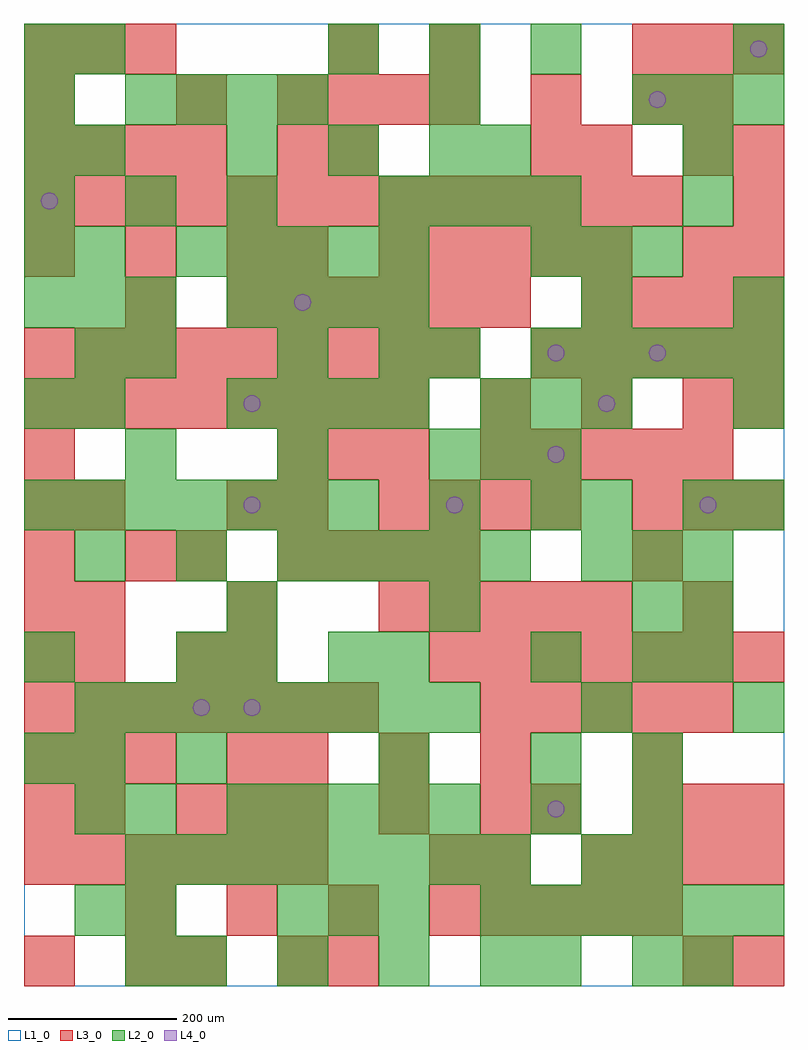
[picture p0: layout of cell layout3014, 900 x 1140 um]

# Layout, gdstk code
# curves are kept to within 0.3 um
import gdstk
lib = gdstk.Library(unit=1e-6, precision=1e-09)
def R(c, l, rs):  # rectangles x0, y0, x1, y1
    for r in rs: c.add(gdstk.rectangle(r[:2], r[2:], *l))
def A(c, l, x, y, w, h, nx, ny, dx, dy):  # array of equal rectangles
    R(c, l, [(x+i*dx, y+j*dy, x+i*dx+w, y+j*dy+h) for i in range(nx) for j in range(ny)])
def P(c, l, *ps):  # polygons
    for p in ps: c.add(gdstk.Polygon(p, *l))
L1_0 = (1, 0)
L2_0 = (2, 0)
L3_0 = (3, 0)
L4_0 = (4, 0)

layout3014 = lib.new_cell('layout3014')
R(layout3014, L1_0, [(0,0,900,1140)])
A(layout3014, L2_0, 180, 0, 60, 60, 4, 1, 120, 0)
A(layout3014, L2_0, 300, 60, 60, 60, 3, 1, 60, 0)
A(layout3014, L2_0, 540, 60, 60, 60, 6, 1, 60, 0)
A(layout3014, L2_0, 120, 120, 60, 60, 8, 1, 60, 0)
A(layout3014, L2_0, 720, 120, 60, 60, 1, 3, 0, 60)
A(layout3014, L2_0, 240, 180, 60, 60, 5, 1, 60, 0)
A(layout3014, L2_0, 60, 300, 60, 60, 8, 1, 60, 0)
A(layout3014, L2_0, 660, 300, 60, 60, 1, 3, 0, 240)
A(layout3014, L2_0, 240, 420, 60, 60, 3, 1, 240, 0)
A(layout3014, L2_0, 60, 480, 60, 60, 3, 1, 120, 0)
A(layout3014, L2_0, 360, 480, 60, 60, 4, 1, 60, 0)
A(layout3014, L2_0, 660, 480, 60, 60, 3, 1, 60, 0)
A(layout3014, L2_0, 0, 540, 60, 60, 7, 1, 60, 0)
A(layout3014, L2_0, 840, 540, 60, 60, 1, 3, 0, 120)
A(layout3014, L2_0, 120, 600, 60, 60, 3, 1, 180, 0)
A(layout3014, L2_0, 240, 660, 60, 60, 4, 2, 60, 120)
A(layout3014, L2_0, 540, 660, 60, 60, 3, 1, 60, 0)
A(layout3014, L2_0, 60, 720, 60, 60, 1, 4, 0, 120)
A(layout3014, L2_0, 600, 720, 60, 60, 5, 1, 60, 0)
A(layout3014, L2_0, 0, 780, 60, 60, 3, 1, 60, 0)
A(layout3014, L2_0, 180, 840, 60, 60, 5, 1, 60, 0)
A(layout3014, L2_0, 600, 840, 60, 60, 3, 1, 60, 0)
A(layout3014, L2_0, 0, 900, 60, 60, 3, 1, 120, 0)
A(layout3014, L2_0, 420, 900, 60, 60, 4, 1, 60, 0)
A(layout3014, L2_0, 0, 960, 60, 60, 1, 3, 0, 60)
A(layout3014, L2_0, 240, 960, 60, 60, 3, 1, 120, 0)
A(layout3014, L2_0, 120, 1020, 60, 60, 4, 1, 60, 0)
A(layout3014, L2_0, 720, 1020, 60, 60, 3, 1, 60, 0)
A(layout3014, L2_0, 360, 1080, 60, 60, 3, 1, 120, 0)
R(layout3014, L2_0, [(120,0,180,60), (600,0,660,60), (720,0,780,60), (780,0,840,60), (60,60,120,120), (120,60,180,120), (660,120,720,180), (60,180,120,240), (120,180,180,240), (600,180,660,240), (0,240,60,300), (60,240,120,300), (180,240,240,300), (420,240,480,300), (600,240,660,300), (840,300,900,360), (0,360,60,420), (180,360,240,420), (240,360,300,420), (360,360,420,420), (420,360,480,420), (600,360,660,420), (720,360,780,420), (780,360,840,420), (780,420,840,480), (480,540,540,600), (600,540,660,600), (780,540,840,600), (540,600,600,660), (600,600,660,660), (0,660,60,720), (60,660,120,720), (120,720,180,780), (300,720,360,780), (420,720,480,780), (480,720,540,780), (0,840,60,900), (780,900,840,960), (540,960,600,1020), (780,960,840,1020), (480,1020,540,1080), (840,1080,900,1140)])
A(layout3014, L3_0, 0, 0, 60, 60, 1, 3, 0, 180)
A(layout3014, L3_0, 780, 0, 60, 60, 1, 3, 0, 420)
A(layout3014, L3_0, 120, 60, 60, 60, 4, 1, 120, 0)
A(layout3014, L3_0, 540, 60, 60, 60, 4, 1, 60, 0)
A(layout3014, L3_0, 0, 120, 60, 60, 6, 1, 60, 0)
A(layout3014, L3_0, 660, 120, 60, 60, 4, 2, 60, 660)
A(layout3014, L3_0, 60, 180, 60, 60, 1, 3, 0, 180)
A(layout3014, L3_0, 180, 180, 60, 60, 3, 1, 60, 0)
A(layout3014, L3_0, 720, 180, 60, 60, 3, 2, 60, 360)
A(layout3014, L3_0, 0, 240, 60, 60, 3, 2, 60, 840)
A(layout3014, L3_0, 300, 240, 60, 60, 3, 1, 120, 0)
A(layout3014, L3_0, 0, 300, 60, 60, 7, 1, 60, 0)
A(layout3014, L3_0, 540, 300, 60, 60, 5, 2, 60, 300)
A(layout3014, L3_0, 480, 360, 60, 60, 7, 1, 60, 0)
A(layout3014, L3_0, 0, 420, 60, 60, 1, 4, 0, 60)
A(layout3014, L3_0, 60, 420, 60, 60, 3, 1, 180, 0)
A(layout3014, L3_0, 480, 420, 60, 60, 4, 1, 60, 0)
A(layout3014, L3_0, 300, 480, 60, 60, 4, 2, 60, 540)
A(layout3014, L3_0, 420, 540, 60, 60, 4, 1, 60, 0)
A(layout3014, L3_0, 300, 600, 60, 60, 3, 1, 60, 0)
A(layout3014, L3_0, 0, 660, 60, 60, 8, 1, 60, 0)
A(layout3014, L3_0, 540, 660, 60, 60, 3, 1, 120, 0)
A(layout3014, L3_0, 0, 720, 60, 60, 9, 1, 60, 0)
A(layout3014, L3_0, 600, 720, 60, 60, 5, 1, 60, 0)
A(layout3014, L3_0, 240, 780, 60, 60, 6, 1, 60, 0)
A(layout3014, L3_0, 0, 840, 60, 60, 3, 1, 120, 0)
A(layout3014, L3_0, 420, 840, 60, 60, 5, 1, 60, 0)
A(layout3014, L3_0, 840, 840, 60, 60, 1, 3, 0, 60)
A(layout3014, L3_0, 0, 900, 60, 60, 13, 1, 60, 0)
A(layout3014, L3_0, 0, 960, 60, 60, 4, 1, 60, 0)
A(layout3014, L3_0, 720, 1080, 60, 60, 3, 1, 60, 0)
R(layout3014, L3_0, [(120,0,180,60), (180,0,240,60), (300,0,360,60), (360,0,420,60), (840,0,900,60), (480,120,540,180), (540,120,600,180), (420,180,480,240), (540,180,600,240), (600,180,660,240), (240,240,300,300), (720,240,780,300), (180,360,240,420), (240,360,300,420), (120,480,180,540), (180,480,240,540), (720,480,780,540), (240,540,300,600), (300,540,360,600), (840,660,900,720), (120,780,180,840), (300,840,360,900), (300,960,360,1020), (360,960,420,1020), (600,960,660,1020), (660,960,720,1020), (780,960,840,1020), (0,1020,60,1080), (180,1020,240,1080), (600,1020,660,1080), (720,1020,780,1080), (780,1020,840,1080), (360,1080,420,1140), (480,1080,540,1140)])
P(layout3014, L4_0, [(40,930),(39.239,933.827),(37.071,937.071),(33.827,939.239),(30,940),(26.173,939.239),(22.929,937.071),(20.761,933.827),(20,930),(20.761,926.173),(22.929,922.929),(26.173,920.761),(30,920),(33.827,920.761),(37.071,922.929),(39.239,926.173)],
  [(220,330),(219.239,333.827),(217.071,337.071),(213.827,339.239),(210,340),(206.173,339.239),(202.929,337.071),(200.761,333.827),(200,330),(200.761,326.173),(202.929,322.929),(206.173,320.761),(210,320),(213.827,320.761),(217.071,322.929),(219.239,326.173)],
  [(280,330),(279.239,333.827),(277.071,337.071),(273.827,339.239),(270,340),(266.173,339.239),(262.929,337.071),(260.761,333.827),(260,330),(260.761,326.173),(262.929,322.929),(266.173,320.761),(270,320),(273.827,320.761),(277.071,322.929),(279.239,326.173)],
  [(280,570),(279.239,573.827),(277.071,577.071),(273.827,579.239),(270,580),(266.173,579.239),(262.929,577.071),(260.761,573.827),(260,570),(260.761,566.173),(262.929,562.929),(266.173,560.761),(270,560),(273.827,560.761),(277.071,562.929),(279.239,566.173)],
  [(280,690),(279.239,693.827),(277.071,697.071),(273.827,699.239),(270,700),(266.173,699.239),(262.929,697.071),(260.761,693.827),(260,690),(260.761,686.173),(262.929,682.929),(266.173,680.761),(270,680),(273.827,680.761),(277.071,682.929),(279.239,686.173)],
  [(340,810),(339.239,813.827),(337.071,817.071),(333.827,819.239),(330,820),(326.173,819.239),(322.929,817.071),(320.761,813.827),(320,810),(320.761,806.173),(322.929,802.929),(326.173,800.761),(330,800),(333.827,800.761),(337.071,802.929),(339.239,806.173)],
  [(520,570),(519.239,573.827),(517.071,577.071),(513.827,579.239),(510,580),(506.173,579.239),(502.929,577.071),(500.761,573.827),(500,570),(500.761,566.173),(502.929,562.929),(506.173,560.761),(510,560),(513.827,560.761),(517.071,562.929),(519.239,566.173)],
  [(640,210),(639.239,213.827),(637.071,217.071),(633.827,219.239),(630,220),(626.173,219.239),(622.929,217.071),(620.761,213.827),(620,210),(620.761,206.173),(622.929,202.929),(626.173,200.761),(630,200),(633.827,200.761),(637.071,202.929),(639.239,206.173)],
  [(640,630),(639.239,633.827),(637.071,637.071),(633.827,639.239),(630,640),(626.173,639.239),(622.929,637.071),(620.761,633.827),(620,630),(620.761,626.173),(622.929,622.929),(626.173,620.761),(630,620),(633.827,620.761),(637.071,622.929),(639.239,626.173)],
  [(640,750),(639.239,753.827),(637.071,757.071),(633.827,759.239),(630,760),(626.173,759.239),(622.929,757.071),(620.761,753.827),(620,750),(620.761,746.173),(622.929,742.929),(626.173,740.761),(630,740),(633.827,740.761),(637.071,742.929),(639.239,746.173)],
  [(700,690),(699.239,693.827),(697.071,697.071),(693.827,699.239),(690,700),(686.173,699.239),(682.929,697.071),(680.761,693.827),(680,690),(680.761,686.173),(682.929,682.929),(686.173,680.761),(690,680),(693.827,680.761),(697.071,682.929),(699.239,686.173)],
  [(760,750),(759.239,753.827),(757.071,757.071),(753.827,759.239),(750,760),(746.173,759.239),(742.929,757.071),(740.761,753.827),(740,750),(740.761,746.173),(742.929,742.929),(746.173,740.761),(750,740),(753.827,740.761),(757.071,742.929),(759.239,746.173)],
  [(760,1050),(759.239,1053.827),(757.071,1057.071),(753.827,1059.239),(750,1060),(746.173,1059.239),(742.929,1057.071),(740.761,1053.827),(740,1050),(740.761,1046.173),(742.929,1042.929),(746.173,1040.761),(750,1040),(753.827,1040.761),(757.071,1042.929),(759.239,1046.173)],
  [(820,570),(819.239,573.827),(817.071,577.071),(813.827,579.239),(810,580),(806.173,579.239),(802.929,577.071),(800.761,573.827),(800,570),(800.761,566.173),(802.929,562.929),(806.173,560.761),(810,560),(813.827,560.761),(817.071,562.929),(819.239,566.173)],
  [(880,1110),(879.239,1113.827),(877.071,1117.071),(873.827,1119.239),(870,1120),(866.173,1119.239),(862.929,1117.071),(860.761,1113.827),(860,1110),(860.761,1106.173),(862.929,1102.929),(866.173,1100.761),(870,1100),(873.827,1100.761),(877.071,1102.929),(879.239,1106.173)])

lib.write_gds('layout3014.gds')
